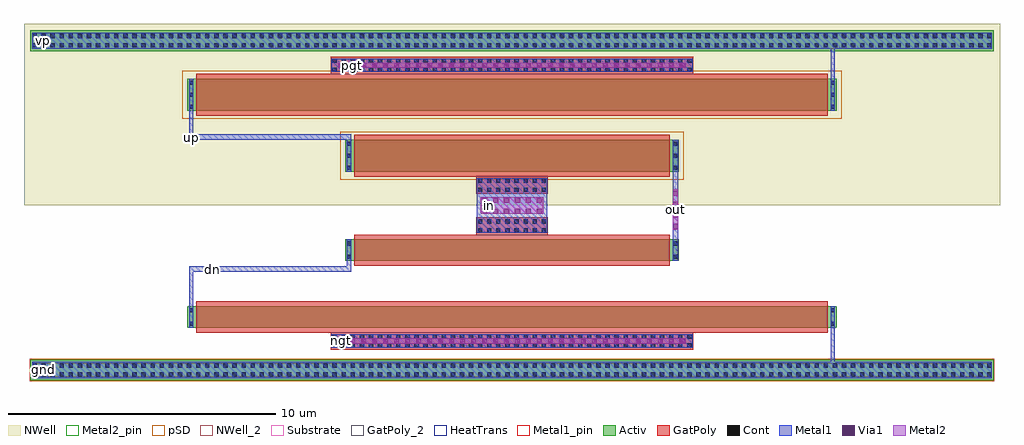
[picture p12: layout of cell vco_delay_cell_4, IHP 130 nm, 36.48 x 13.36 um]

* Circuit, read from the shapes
.subckt vco_delay_cell_4 dn gnd in ngt out pgt up vp
XM1 gnd ngt dn gnd sg13_lv_nmos w=0.8u l=23.6u
XM2 out in dn gnd sg13_lv_nmos w=0.8u l=11.8u
XM3 vp pgt up vp sg13_lv_pmos w=1.2u l=23.6u
XM4 out in up vp sg13_lv_pmos w=1.2u l=11.8u
.ends

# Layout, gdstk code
import gdstk
lib = gdstk.Library(unit=1e-6, precision=1e-09)
def R(c, l, rs):  # rectangles x0, y0, x1, y1
    for r in rs: c.add(gdstk.rectangle(r[:2], r[2:], *l))
def A(c, l, x, y, w, h, nx, ny, dx, dy):  # array of equal rectangles
    R(c, l, [(x+i*dx, y+j*dy, x+i*dx+w, y+j*dy+h) for i in range(nx) for j in range(ny)])
Activ = (1, 0)
GatPoly = (5, 0)
GatPoly_2 = (5, 2)
Cont = (6, 0)
Metal1 = (8, 0)
Metal1_pin = (8, 2)
Metal2 = (10, 0)
Metal2_pin = (10, 2)
pSD = (14, 0)
Via1 = (19, 0)
NWell = (31, 0)
NWell_2 = (31, 2)
Substrate = (40, 0)
HeatTrans = (51, 0)

via_6_1 = lib.new_cell('Via$6$1')
R(via_6_1, Metal1, [(-0.105,-0.76,0.105,0.76)])
R(via_6_1, Metal2, [(-0.1,-0.76,0.1,0.76)])
A(via_6_1, Via1, -0.095, -0.71, 0.19, 0.19, 1, 4, 0, 0.41)

pmos_1_5 = lib.new_cell('pmos$1$5')
R(pmos_1_5, Activ, [(0,0,0.3,0.3), (0,0,12.48,1.2), (12.18,0,12.48,0.3)])
R(pmos_1_5, GatPoly, [(0.34,-0.18,12.14,1.38), (0.34,-0.18,12.14,1.38)])
A(pmos_1_5, Cont, 0.07, 0.07, 0.16, 0.16, 1, 3, 0, 0.45)
A(pmos_1_5, Cont, 12.25, 0.07, 0.16, 0.16, 1, 3, 0, 0.45)
R(pmos_1_5, Metal1, [(0.07,0,0.23,1.2), (0.07,0,0.23,1.2), (12.25,0,12.41,1.2), (12.25,0,12.41,1.2)])
R(pmos_1_5, pSD, [(-0.18,-0.3,12.66,1.5)])
R(pmos_1_5, NWell, [(-0.31,-0.31,12.79,1.51)])
R(pmos_1_5, HeatTrans, [(0.34,-0.18,12.14,1.38)])
pmos_1_5.add(gdstk.Label('pmos', (6.24,0.6), layer=63, texttype=0))
pmos_1_5.add(gdstk.Label('pmos', (6.24,0.6), layer=51, texttype=0))

nmos_3_1 = lib.new_cell('nmos$3$1')
R(nmos_3_1, Activ, [(0,0,0.3,0.3), (0,0,24.28,0.8), (23.98,0,24.28,0.3)])
R(nmos_3_1, GatPoly, [(0.34,-0.18,23.94,0.98)])
R(nmos_3_1, GatPoly_2, [(0.34,-0.18,23.94,0.98)])
R(nmos_3_1, Cont, [(0.07,0.07,0.23,0.23), (24.05,0.07,24.21,0.23), (0.07,0.57,0.23,0.73), (24.05,0.57,24.21,0.73)])
R(nmos_3_1, Metal1, [(0.07,0,0.23,0.8), (24.05,0,24.21,0.8)])
R(nmos_3_1, Metal1_pin, [(0.07,0,0.23,0.8), (24.05,0,24.21,0.8)])
R(nmos_3_1, HeatTrans, [(0.34,-0.18,23.94,0.98)])
nmos_3_1.add(gdstk.Label('nmos', (12.14,0.4), layer=63, texttype=0))
nmos_3_1.add(gdstk.Label('nmos', (12.14,0.4), layer=51, texttype=0))

via_13_1 = lib.new_cell('Via$13$1')
R(via_13_1, GatPoly, [(-6.78,-0.32,6.78,0.32)])
A(via_13_1, Cont, -6.71, -0.25, 0.16, 0.16, 40, 2, 0.34, 0.34)
R(via_13_1, Metal1, [(-6.76,-0.25,6.76,0.25)])

via_5_1 = lib.new_cell('Via$5$1')
R(via_5_1, Metal1, [(-1.17,-0.31,1.17,0.31)])
R(via_5_1, Metal2, [(-1.17,-0.305,1.17,0.305)])
A(via_5_1, Via1, -1.12, -0.3, 0.19, 0.19, 6, 2, 0.41, 0.41)

via_2_1 = lib.new_cell('Via$2$1')
R(via_2_1, GatPoly, [(-1.34,-0.32,1.34,0.32)])
A(via_2_1, Cont, -1.27, -0.25, 0.16, 0.16, 8, 2, 0.34, 0.34)
R(via_2_1, Metal1, [(-1.32,-0.25,1.32,0.25)])

ntap1_1_2 = lib.new_cell('ntap1$1$2')
R(ntap1_1_2, Activ, [(0,0,36,0.78)])
A(ntap1_1_2, Cont, 0.07, 0.14, 0.16, 0.16, 106, 2, 0.34, 0.34)
R(ntap1_1_2, Metal1, [(0.07,0.09,35.93,0.69)])
R(ntap1_1_2, Metal1_pin, [(0.07,0.09,35.93,0.69), (0.07,0.14,35.93,0.64)])
R(ntap1_1_2, NWell, [(-0.24,-0.24,36.24,1.02), (0,0,36,0.78)])
R(ntap1_1_2, NWell_2, [(0,0,36,0.78)])
ntap1_1_2.add(gdstk.Label('well', (18,0.01), layer=63, texttype=0))
ntap1_1_2.add(gdstk.Label('well', (18,0.01), layer=31, texttype=0))

ptap1_1_1 = lib.new_cell('ptap1$1$1')
R(ptap1_1_1, Activ, [(0,0,36,0.78)])
A(ptap1_1_1, Cont, 0.07, 0.14, 0.16, 0.16, 106, 2, 0.34, 0.34)
R(ptap1_1_1, Metal1, [(0.07,0.09,35.93,0.69), (0.07,0.14,35.93,0.64)])
R(ptap1_1_1, Metal1_pin, [(0.07,0.14,35.93,0.64)])
R(ptap1_1_1, pSD, [(-0.03,-0.03,36.03,0.81)])
R(ptap1_1_1, Substrate, [(0,0,36,0.78)])
ptap1_1_1.add(gdstk.Label('sub!', (18,0.01), layer=63, texttype=0))
ptap1_1_1.add(gdstk.Label('sub!', (18,0.01), layer=40, texttype=0))

via_4_1_1 = lib.new_cell('Via$4$1$1')
R(via_4_1_1, Metal1, [(-6.5,-0.105,6.5,0.105)])
R(via_4_1_1, Metal2, [(-6.5,-0.1,6.5,0.1)])
A(via_4_1_1, Via1, -6.45, -0.095, 0.19, 0.19, 32, 1, 0.41, 0)

nmos_2 = lib.new_cell('nmos$2')
R(nmos_2, Activ, [(0,0,0.3,0.3), (0,0,12.48,0.8), (12.18,0,12.48,0.3)])
R(nmos_2, GatPoly, [(0.34,-0.18,12.14,0.98)])
R(nmos_2, GatPoly_2, [(0.34,-0.18,12.14,0.98)])
R(nmos_2, Cont, [(0.07,0.07,0.23,0.23), (12.25,0.07,12.41,0.23), (0.07,0.57,0.23,0.73), (12.25,0.57,12.41,0.73)])
R(nmos_2, Metal1, [(0.07,0,0.23,0.8), (12.25,0,12.41,0.8)])
R(nmos_2, Metal1_pin, [(0.07,0,0.23,0.8), (12.25,0,12.41,0.8)])
R(nmos_2, HeatTrans, [(0.34,-0.18,12.14,0.98)])
nmos_2.add(gdstk.Label('nmos', (6.24,0.4), layer=63, texttype=0))
nmos_2.add(gdstk.Label('nmos', (6.24,0.4), layer=51, texttype=0))

pmos_5 = lib.new_cell('pmos$5')
R(pmos_5, Activ, [(0,0,0.3,0.3), (0,0,24.28,1.2), (23.98,0,24.28,0.3)])
R(pmos_5, GatPoly, [(0.34,-0.18,23.94,1.38), (0.34,-0.18,23.94,1.38)])
A(pmos_5, Cont, 0.07, 0.07, 0.16, 0.16, 1, 3, 0, 0.45)
A(pmos_5, Cont, 24.05, 0.07, 0.16, 0.16, 1, 3, 0, 0.45)
R(pmos_5, Metal1, [(0.07,0,0.23,1.2), (0.07,0,0.23,1.2), (24.05,0,24.21,1.2), (24.05,0,24.21,1.2)])
R(pmos_5, pSD, [(-0.18,-0.3,24.46,1.5)])
R(pmos_5, NWell, [(-0.31,-0.31,24.59,1.51)])
R(pmos_5, HeatTrans, [(0.34,-0.18,23.94,1.38)])
pmos_5.add(gdstk.Label('pmos', (12.14,0.6), layer=63, texttype=0))
pmos_5.add(gdstk.Label('pmos', (12.14,0.6), layer=51, texttype=0))

vco_delay_cell_4 = lib.new_cell('vco_delay_cell_4')
R(vco_delay_cell_4, Metal1, [(18.14,-3.035,18.3,-1.755), (-5.84,-0.955,-5.68,0.345), (-5.84,0.345,0.22,0.545), (0.06,0.545,0.22,0.745), (12.4,0.745,12.45,1.9), (12.24,1.545,12.4,4.075), (4.91,2.295,7.55,3.325), (12.4,3.42,12.45,5.275), (-5.84,5.275,0.22,5.475), (-5.84,5.275,-5.68,6.355), (18.14,7.555,18.3,8.675)])
R(vco_delay_cell_4, Metal1_pin, [(-11.35,-3.4,-11.22,-3.27), (-11.345,8.91,-11.215,9.04)])
R(vco_delay_cell_4, Metal2_pin, [(-0.195,-2.315,-0.065,-2.185), (12.28,2.6,12.41,2.73), (5.345,2.75,5.475,2.88), (0.22,7.99,0.35,8.12)])
R(vco_delay_cell_4, NWell, [(-12.01,2.815,24.47,9.605)])
vco_delay_cell_4.add(gdstk.Reference(via_6_1, (12.345,2.66)))
vco_delay_cell_4.add(gdstk.Reference(pmos_1_5, (-0.01,4.075)))
vco_delay_cell_4.add(gdstk.Reference(nmos_3_1, (-5.91,-1.755)))
vco_delay_cell_4.add(gdstk.Reference(via_13_1, (6.23,-2.255)))
vco_delay_cell_4.add(gdstk.Reference(via_5_1, (6.23,2.81)))
vco_delay_cell_4.add(gdstk.Reference(via_2_1, (6.23,2.045)))
vco_delay_cell_4.add(gdstk.Reference(via_2_1, (6.23,3.575)))
vco_delay_cell_4.add(gdstk.Reference(ntap1_1_2, (-11.77,8.585)))
vco_delay_cell_4.add(gdstk.Reference(ptap1_1_1, (-11.77,-3.725)))
vco_delay_cell_4.add(gdstk.Reference(via_4_1_1, (6.23,-2.255)))
vco_delay_cell_4.add(gdstk.Reference(via_4_1_1, (6.23,8.055)))
vco_delay_cell_4.add(gdstk.Reference(nmos_2, (-0.01,0.745)))
vco_delay_cell_4.add(gdstk.Reference(pmos_5, (-5.91,6.355)))
vco_delay_cell_4.add(gdstk.Reference(via_13_1, (6.23,8.055)))
vco_delay_cell_4.add(gdstk.Label('out', (12.345,2.665), layer=10, texttype=25))
vco_delay_cell_4.add(gdstk.Label('in', (5.4,2.815), layer=10, texttype=25))
vco_delay_cell_4.add(gdstk.Label('pgt', (0.285,8.055), layer=10, texttype=25))
vco_delay_cell_4.add(gdstk.Label('ngt', (-0.13,-2.25), layer=10, texttype=25))
vco_delay_cell_4.add(gdstk.Label('up', (-5.74,5.36), layer=8, texttype=25))
vco_delay_cell_4.add(gdstk.Label('dn', (-4.965,0.415), layer=8, texttype=25))
vco_delay_cell_4.add(gdstk.Label('vp', (-11.28,8.975), layer=8, texttype=25))
vco_delay_cell_4.add(gdstk.Label('gnd', (-11.285,-3.335), layer=8, texttype=25))

lib.write_gds('vco_delay_cell_4.gds')
